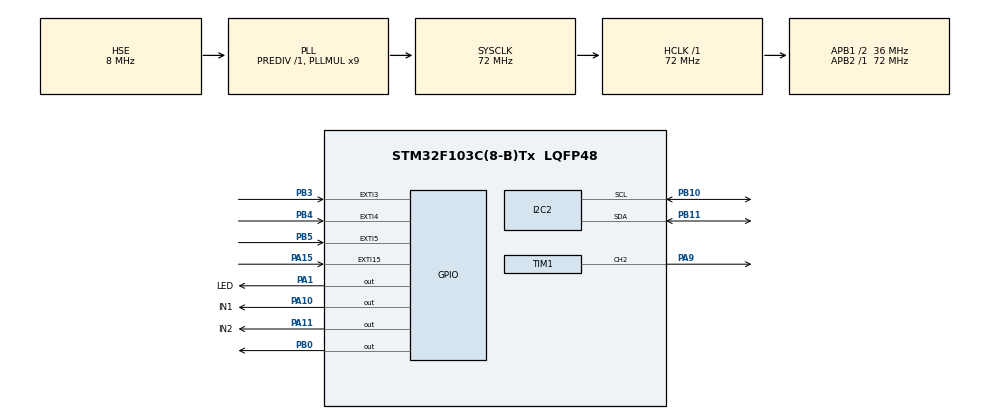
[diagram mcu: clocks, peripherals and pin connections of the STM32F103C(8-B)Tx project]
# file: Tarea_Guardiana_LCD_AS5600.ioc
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Mcu.Family=STM32F1
RCC.PLLSourceVirtual=RCC_PLLSOURCE_HSE
NVIC.EXTI4_IRQn=true\:5\:0\:true\:false\:true\:true\:true
PD1-OSC_OUT.Mode=HSE-External-Oscillator
PB10.Mode=I2C
PB4.GPIO_ModeDefaultEXTI=GPIO_MODE_IT_FALLING
NVIC.EXTI3_IRQn=true\:5\:0\:true\:false\:true\:true\:true
PA11.GPIO_Label=IN2
PD0-OSC_IN.Signal=RCC_OSC_IN
PB3.GPIO_ModeDefaultEXTI=GPIO_MODE_IT_FALLING
RCC.APB1CLKDivider=RCC_HCLK_DIV2
PB11.Signal=I2C2_SDA
RCC.SYSCLKSource=RCC_SYSCLKSOURCE_PLLCLK
ProjectManager.StackSize=0x400
PD1-OSC_OUT.Signal=RCC_OSC_OUT
PA13.Signal=SYS_JTMS-SWDIO
TIM1.Prescaler=15
PB11.Mode=I2C
ProjectManager.TargetToolchain=STM32CubeIDE
PA15.GPIO_ModeDefaultEXTI=GPIO_MODE_IT_FALLING
RCC.HCLKFreq_Value=72000000
RCC.APB2TimFreq_Value=72000000
PA9.Signal=S_TIM1_CH2
TIM1.Channel-PWM\ Generation2\ CH2=TIM_CHANNEL_2
PB4.GPIO_PuPd=GPIO_PULLUP
RCC.USBFreq_Value=72000000
PA1.Signal=GPIO_Output
RCC.AHBFreq_Value=72000000
PB10.Signal=I2C2_SCL
PD0-OSC_IN.Mode=HSE-External-Oscillator
NVIC.EXTI15_10_IRQn=true\:5\:0\:true\:false\:true\:true\:true
board=custom
RCC.PLLMUL=RCC_PLL_MUL9
RCC.APB2Freq_Value=72000000
PB3.GPIO_PuPd=GPIO_PULLUP
SH.S_TIM1_CH2.0=TIM1_CH2,PWM Generation2 CH2
PA14.Mode=Serial_Wire
NVIC.TIM2_IRQn=true\:0\:0\:false\:false\:true\:false\:true
PA10.GPIO_Label=IN1
PA1.GPIO_Label=LED
PA13.Mode=Serial_Wire
Mcu.Name=STM32F103C(8-B)Tx
PB3.Signal=GPXTI3
RCC.SYSCLKFreq_VALUE=72000000
Mcu.Package=LQFP48
PB5.Signal=GPXTI5
VP_SYS_VS_tim2.Mode=TIM2
NVIC.TimeBase=TIM2_IRQn
PB5.GPIO_PuPd=GPIO_PULLUP
PA11.Signal=GPIO_Output
NVIC.TimeBaseIP=TIM2
NVIC.EXTI9_5_IRQn=true\:5\:0\:true\:false\:true\:true\:true
PA10.Signal=GPIO_Output
PA14.Signal=SYS_JTCK-SWCLK
PA15.Signal=GPXTI15
ProjectManager.HeapSize=0x200
NVIC.PriorityGroup=NVIC_PRIORITYGROUP_4
PA15.GPIO_PuPd=GPIO_PULLUP
RCC.APB1TimFreq_Value=72000000
TIM1.Period=999
RCC.APB1Freq_Value=36000000
PB0.Signal=GPIO_Output
PB4.Signal=GPXTI4
PB5.GPIO_ModeDefaultEXTI=GPIO_MODE_IT_FALLING

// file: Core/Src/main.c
/* USER CODE BEGIN Header */
/**
  ******************************************************************************
  * @file           : main.c
  * @brief          : Main program body
  ******************************************************************************
  * @attention
  *
  * <h2><center>&copy; Copyright (c) 2025 STMicroelectronics.
  * All rights reserved.</center></h2>
  *
  * This software component is licensed by ST under BSD 3-Clause license,
  * the "License"; You may not use this file except in compliance with the
  * License. You may obtain a copy of the License at:
  *                        opensource.org/licenses/BSD-3-Clause
  *
  ******************************************************************************
  */
/* USER CODE END Header */
#include "main.h"

/* USER CODE BEGIN Includes */

#include "FreeRTOS.h"
#include "task.h"
#include "queue.h"
#include "lcd_i2c.h"
#include <stdio.h>
#include <string.h>
#include "semphr.h"
#include "math.h"

/* USER CODE END Includes */

/* USER CODE BEGIN PD */

#define LEFT 0
#define RIGHT 1
#define STOP 2

#define PIN_PWM GPIO_PIN_9
#define PORT_PWM GPIOA

#define PIN_IN1 GPIO_PIN_10
#define PORT_IN1 GPIOA

#define PIN_IN2 GPIO_PIN_11
#define PORT_IN2 GPIOA

#define PID_RUN 1
#define PID_STOP 0

#define INC_STEP 1.0f   // incremento al presionar subir/bajar (grados)

/* USER CODE END PD */

I2C_HandleTypeDef hi2c2;

TIM_HandleTypeDef htim1;

/* USER CODE BEGIN PV */

QueueHandle_t I2C_txQueue;
QueueHandle_t I2C_rxQueue;
QueueHandle_t angleQueue;
QueueHandle_t goalangleQueue; // cola para setpoint (PID)
QueueHandle_t rtcQueue;

SemaphoreHandle_t goalangleSemphr;  // controla bloqueo entre menú <-> PID
SemaphoreHandle_t sem_btn0;
SemaphoreHandle_t sem_btn1;
SemaphoreHandle_t sem_btn2;
SemaphoreHandle_t sem_btn3;

typedef enum { RECEIVE, TRANSMIT } i2c_op_t;
typedef struct {
    uint16_t device_id;
    uint8_t reg;
    i2c_op_t type;
    uint8_t n_bytes;
    uint8_t *data;
} i2cQueue_t;

typedef struct {
    uint8_t sec, min, hour, day, month, year;
} rtc_time_t;

typedef enum {
    MENU_SETPOINT = 0,
    MENU_SET_TIME,
    MENU_MARGEN,
    MENU_DATALOGGER,
    MENU_TOTAL_ITEMS
} menu_option_t;

/* Estado del menu y edición */
volatile menu_option_t menu_selected = MENU_SETPOINT;
volatile uint8_t editing_time = 0;
volatile uint8_t edit_field = 0;
rtc_time_t rtc_editing;

/* Nuevo: edición de setpoint */
volatile uint8_t editing_setpoint = 0;
float current_setpoint = 0.0f;   // valor mostrado y editado

/* USER CODE END PV */

void SystemClock_Config(void);
static void MX_GPIO_Init(void);
static void MX_I2C2_Init(void);
static void MX_TIM1_Init(void);

/* USER CODE BEGIN 0 */

void PWM_SetSpeed(uint32_t freq_hz){
	HAL_TIM_PWM_Stop(&htim1, TIM_CHANNEL_2);	//Sabiendo que Preescaler = 15 siempre
	uint32_t periodo=(4500000/freq_hz)-1;		//Sale de hacer 72Mhz/(1+preescaler)(1+ARR)
	TIM1->ARR=periodo;
	TIM1->CCR2=periodo/2;
	//HAL_TIM_PWM_Start(&htim1, TIM_CHANNEL_2);
}

void PWM_Stop(){
	HAL_TIM_PWM_Stop(&htim1, TIM_CHANNEL_2);
}
void PWM_Start(){
	HAL_TIM_PWM_Start(&htim1, TIM_CHANNEL_2);
}
void sentido(int s){
	if(s==LEFT){
		HAL_GPIO_WritePin(PORT_IN1, PIN_IN1, GPIO_PIN_SET);
		HAL_GPIO_WritePin(PORT_IN2, PIN_IN2, GPIO_PIN_RESET);
	}else if(s==RIGHT){
		HAL_GPIO_WritePin(PORT_IN1, PIN_IN1, GPIO_PIN_RESET);
		HAL_GPIO_WritePin(PORT_IN2, PIN_IN2, GPIO_PIN_SET);
	}else if(s==STOP){
		HAL_GPIO_WritePin(PORT_IN1, PIN_IN1, GPIO_PIN_RESET);
		HAL_GPIO_WritePin(PORT_IN2, PIN_IN2, GPIO_PIN_RESET);
	}
}
void speed(uint32_t s){
	PWM_Stop();
	//MINIMA VELOCIDAD 20!!
	float period = (float)TIM1->ARR;
	float temp = 0;
	if(s>100) s = 100;
	if(s>0){
		if(s<=10) s=10;
		temp = (float) s;
		temp = temp/100;
		TIM1->CCR2=(uint32_t)(period * temp);
		PWM_Start();
	}
}

void I2C_controllerTask(void *pvParameters) {
    i2cQueue_t i2cq;
    uint8_t temp[8];
    while (1) {
        xQueueReceive(I2C_txQueue, &i2cq, portMAX_DELAY);
        if (i2cq.type == RECEIVE) {
            HAL_I2C_Master_Transmit(&hi2c2, i2cq.device_id, &i2cq.reg, 1, 10);
            HAL_I2C_Master_Receive(&hi2c2, i2cq.device_id, temp, i2cq.n_bytes, 10);
            xQueueSend(I2C_rxQueue, temp, portMAX_DELAY);
        } else {
            temp[0] = i2cq.reg;
            for (uint8_t i = 0; i < i2cq.n_bytes; i++) temp[i + 1] = i2cq.data[i];
            HAL_I2C_Master_Transmit(&hi2c2, i2cq.device_id, temp, i2cq.n_bytes + 1, 10);
        }
    }
}

void buttonHandlerTask(void *pvParameters) {
    TickType_t lastPress[4] = {0};
    while (1) {
        TickType_t now = xTaskGetTickCount();

        // BOTÓN 1 (sem_btn0): cambiar opción o guardar (menu/save)
        if (xSemaphoreTake(sem_btn0, 0) == pdTRUE && (now - lastPress[0] > pdMS_TO_TICKS(200))) {
            if (HAL_GPIO_ReadPin(GPIOB, GPIO_PIN_3) == GPIO_PIN_RESET) {
                lastPress[0] = now;

                if (!editing_time && !editing_setpoint) {
                    // si no estamos editando, cambiar opción menú
                    menu_selected = (menu_selected + 1) % MENU_TOTAL_ITEMS;
                } else if (editing_time) {
                    // Guardar RTC en DS1307 (igual que antes)
                    uint8_t buf[7];
                    buf[0] = ((rtc_editing.sec/10)<<4)|(rtc_editing.sec%10);
                    buf[1] = ((rtc_editing.min/10)<<4)|(rtc_editing.min%10);
                    buf[2] = ((rtc_editing.hour/10)<<4)|(rtc_editing.hour%10);
                    buf[3] = 1;
                    buf[4] = ((rtc_editing.day/10)<<4)|(rtc_editing.day%10);
                    buf[5] = ((rtc_editing.month/10)<<4)|(rtc_editing.month%10);
                    buf[6] = ((rtc_editing.year/10)<<4)|(rtc_editing.year%10);
                    i2cQueue_t i2cq = {0x68 << 1, 0x00, TRANSMIT, 7, buf};
                    xQueueSend(I2C_txQueue, &i2cq, portMAX_DELAY);
                    editing_time = 0;
                } else if (editing_setpoint) {
                    // Guardar setpoint: tomar semáforo (si está disponible) y enviar a PID
                    if (xSemaphoreTake(goalangleSemphr, pdMS_TO_TICKS(50)) == pdTRUE) {
                        float sp = current_setpoint;
                        xQueueSend(goalangleQueue, &sp, portMAX_DELAY);
                        editing_setpoint = 0;
                        // queda pendiente: PID cuando termine dará el semáforo con xSemaphoreGive
                    }
                }
            }
        }

        // BOTÓN 2 (sem_btn1): entrar o cambiar campo (enter)
        if (xSemaphoreTake(sem_btn1, 0) == pdTRUE && (now - lastPress[1] > pdMS_TO_TICKS(200))) {
            if (HAL_GPIO_ReadPin(GPIOA, GPIO_PIN_15) == GPIO_PIN_RESET) {
                lastPress[1] = now;

                if (menu_selected == MENU_SET_TIME && !editing_time) {
                    xQueuePeek(rtcQueue, &rtc_editing, 0);
                    editing_time = 1;
                    edit_field = 0;
                } else if (editing_time) {
                    edit_field = (edit_field + 1) % 6;
                } else if (menu_selected == MENU_SETPOINT && !editing_setpoint) {
                    // entrar a editar setpoint
                    editing_setpoint = 1;
                    // current_setpoint ya contiene el valor actual a editar
                } else if (editing_setpoint) {
                    // si querés podés usar este botón para cambiar modos; aquí lo ignoramos
                }
            }
        }

        // BOTÓN 3 (sem_btn2): subir valor (subir setpoint o campo RTC)
        if (xSemaphoreTake(sem_btn2, 0) == pdTRUE && (now - lastPress[2] > pdMS_TO_TICKS(200))) {
            if (HAL_GPIO_ReadPin(GPIOB, GPIO_PIN_5) == GPIO_PIN_RESET) {
                lastPress[2] = now;

                if (editing_time) {
                    switch (edit_field) {
                        case 0: if (++rtc_editing.hour > 23) rtc_editing.hour = 0; break;
                        case 1: if (++rtc_editing.min > 59)  rtc_editing.min = 0; break;
                        case 2: if (++rtc_editing.sec > 59)  rtc_editing.sec = 0; break;
                        case 3: if (++rtc_editing.day > 31)  rtc_editing.day = 1; break;
                        case 4: if (++rtc_editing.month > 12)rtc_editing.month = 1; break;
                        case 5: if (++rtc_editing.year > 99) rtc_editing.year = 0; break;
                    }
                } else if (editing_setpoint) {
                    current_setpoint += INC_STEP;
                    if (current_setpoint > 360.0f) current_setpoint = 360.0f; // tope
                }
            }
        }

        // BOTÓN 4 (sem_btn3): bajar valor (bajar setpoint o campo RTC)
        if (xSemaphoreTake(sem_btn3, 0) == pdTRUE && (now - lastPress[3] > pdMS_TO_TICKS(200))) {
            if (HAL_GPIO_ReadPin(GPIOB, GPIO_PIN_4) == GPIO_PIN_RESET) {
                lastPress[3] = now;

                if (editing_time) {
                    switch (edit_field) {
                        case 0: rtc_editing.hour  = (rtc_editing.hour == 0) ? 23 : rtc_editing.hour - 1; break;
                        case 1: rtc_editing.min   = (rtc_editing.min == 0)  ? 59 : rtc_editing.min - 1; break;
                        case 2: rtc_editing.sec   = (rtc_editing.sec == 0)  ? 59 : rtc_editing.sec - 1; break;
                        case 3: rtc_editing.day   = (rtc_editing.day == 1)  ? 31 : rtc_editing.day - 1; break;
                        case 4: rtc_editing.month = (rtc_editing.month == 1)? 12 : rtc_editing.month - 1; break;
                        case 5: rtc_editing.year  = (rtc_editing.year == 0) ? 99 : rtc_editing.year - 1; break;
                    }
                } else if (editing_setpoint) {
                    current_setpoint -= INC_STEP;
                    if (current_setpoint < 0.0f) current_setpoint = 0.0f;
                }
            }
        }

        vTaskDelay(pdMS_TO_TICKS(10));
    }
}

void menuTask(void *pvParameters) {
    lcd_init();
    lcd_clear();
    char buffer[17];
    TickType_t last_blink = 0;
    uint8_t blink_state = 1;
    uint8_t last_editing_time = 0;

    while (1) {
        TickType_t now = xTaskGetTickCount();
        if (now - last_blink >= pdMS_TO_TICKS(500)) {
            blink_state = !blink_state;
            last_blink = now;
        }

        if (!editing_time && !editing_setpoint) {
            // Mostrar menú y también el setpoint en la línea donde está Setpoint
            lcd_goto_XY(0, 0);
            if (menu_selected == MENU_SETPOINT) {
                lcd_send_string("> Setpoint    ");
            } else {
                lcd_send_string("  Setpoint    ");
            }

            // mostrar setpoint al final de la misma línea (ej: " 123.0")
            lcd_goto_XY(0, 12);
            snprintf(buffer, 6, "%5.1f", current_setpoint);
            lcd_send_string(buffer);

            lcd_goto_XY(1, 0);
            lcd_send_string(menu_selected == MENU_SET_TIME ? "> Set time/date" : "  Set time/date");

            lcd_goto_XY(2, 0);
            lcd_send_string(menu_selected == MENU_MARGEN ? "> Margen Setpoint  " : "  Margen Setpoint  ");

            lcd_goto_XY(3, 0);
            lcd_send_string(menu_selected == MENU_DATALOGGER ? "> Datalogger   " : "  Datalogger   ");

        } else if (editing_setpoint) {
            // Mostrar pantalla de edición de setpoint
            lcd_goto_XY(0, 0);
            lcd_send_string("Edit Setpoint:   ");
            lcd_goto_XY(1, 0);
            // blink cuando editando
            if (!blink_state) {
                lcd_send_string("      ----.-     ");
            } else {
                snprintf(buffer, sizeof(buffer), "   %6.1f       ", current_setpoint);
                lcd_send_string(buffer);
            }
            // limpiar lineas inferiores
            lcd_goto_XY(2,0); lcd_send_string("                    ");
            lcd_goto_XY(3,0); lcd_send_string(" Press MENU to save ");
        } else {
            // editing_time (ya existente)
            // Línea 0: Hora
            lcd_goto_XY(0, 0);
            if (edit_field == 0 && !blink_state)
                lcd_send_string("  ");
            else
                snprintf(buffer, sizeof(buffer), "%02u", rtc_editing.hour), lcd_send_string(buffer);

            lcd_send_string(":");

            if (edit_field == 1 && !blink_state)
                lcd_send_string("  ");
            else
                snprintf(buffer, sizeof(buffer), "%02u", rtc_editing.min), lcd_send_string(buffer);

            lcd_send_string(":");

            if (edit_field == 2 && !blink_state)
                lcd_send_string("  ");
            else
                snprintf(buffer, sizeof(buffer), "%02u", rtc_editing.sec), lcd_send_string(buffer);

            // Línea 1: Fecha
            lcd_goto_XY(1, 0);
            if (edit_field == 3 && !blink_state)
                lcd_send_string("  ");
            else
                snprintf(buffer, sizeof(buffer), "%02u", rtc_editing.day), lcd_send_string(buffer);

            lcd_send_string("/");

            if (edit_field == 4 && !blink_state)
                lcd_send_string("  ");
            else
                snprintf(buffer, sizeof(buffer), "%02u", rtc_editing.month), lcd_send_string(buffer);

            lcd_send_string("/");

            if (edit_field == 5 && !blink_state)
                lcd_send_string("  ");
            else
                snprintf(buffer, sizeof(buffer), "%02u", rtc_editing.year), lcd_send_string(buffer);
        }

        if (editing_time != last_editing_time) {
            lcd_goto_XY(0, 0);
            lcd_send_string("                    ");  // Borra línea 0
            lcd_goto_XY(1, 0);
            lcd_send_string("                    ");  // Borra línea 1
            lcd_goto_XY(2, 0);
            lcd_send_string("                    ");  // Borra línea 2
            lcd_goto_XY(3, 0);
            lcd_send_string("                    ");  // Borra línea 3
            last_editing_time = editing_time;
        }

        vTaskDelay(pdMS_TO_TICKS(100));
    }
}

void PID_Task(void *pvParameters) {
	//velocidad=kp*e+ki*integral(e*dt)+kd*d(e)/dt
	//e=setpoint - curr_angle

	double kp = 1.2;  //ajustar valor
	double ki = 0.05; //ajustar valor
	double kd = 0.3;  //ajustar valor

	// Variables de cálculo
	double error=0;
	double errSum=0;
	double dErr=0;
	double last_error=0; //error de la "pasada" anterior del pid
	double dt=0;
	double y_out=0;

	// Control
	int rotation=STOP;
    int running_flag=PID_STOP;
	float goal_angle=0;
    float curr_angle=0;
    float angle_error=10; //error maximo esperado, para tener rangos setpoint+-error
    //recibo angle_error tambien de una queue (la misma que el sp)

    TickType_t curr_ticks = xTaskGetTickCount();
    TickType_t last_ticks = curr_ticks;

    sentido(STOP);
    PWM_SetSpeed(1000); // 1 kHz de PWM

    while (1) {
    	if(running_flag==PID_STOP){
    		sentido(STOP);
    		 // Espera nuevo setpoint
  		    xQueueReceive(goalangleQueue, &goal_angle, portMAX_DELAY);//espero a recibir angulo a rotar
  		  // cuando menu guarda, ya tomó goalangleSemphr; aca se arranca
  		    running_flag = PID_RUN;
  		    last_ticks = xTaskGetTickCount();
  		    errSum = 0;
  		    last_error = 0;

    	}
    	if(running_flag==PID_RUN){
    		curr_ticks = xTaskGetTickCount();
    		dt = (double)(curr_ticks - last_ticks) / 1000.0; // ms → s

    		if(dt<=0){
    			dt=0.001;
    		}

    		last_ticks = curr_ticks;

    		            // Lee ángulo actual sin consumirlo
    	   	if(xQueuePeek(angleQueue, &curr_angle, pdMS_TO_TICKS(50)) != pdTRUE){

    	   	 vTaskDelay(pdMS_TO_TICKS(10));  // si no hay lectura, esperar un poco
    	   	 continue;
    	   	}

    		            // Calcula error
    		            error = (double)(goal_angle - curr_angle);
    		            errSum += error * dt;
    		            dErr = (error - last_error) / dt;
    		            last_error = error;

    		            // Salida PID
    		            y_out = kp * error + ki * errSum + kd * dErr;

    		            // Dirección y magnitud
    		            if (y_out < 0) {
    		                rotation = LEFT;
    		                y_out = -y_out;
    		            } else {
    		                rotation = RIGHT;
    		            }

    		            // Limitar salida
    		            if (y_out > 100) y_out = 100;
    		            if (y_out < 10)  y_out = 10; // velocidad mínima

    		            sentido(rotation);
    		            speed((uint32_t)y_out);

    		            // Verificar si está dentro de rango
    		            if (fabs(error) <= angle_error) {
    		                PWM_Stop();
    		                running_flag = PID_STOP;
    		                xSemaphoreGive(goalangleSemphr); // liberar semáforo para permitir nueva edición en menú
    		            }
    		        }
    	vTaskDelay(pdMS_TO_TICKS(50));
//
//    	xSemaphoreTake(goalangleSemphr,portMAX_DELAY); //corroborar que la botonera siempre tome el semaforo primero con takefromISR
//    	//uso peek para permitir entrar variar veces sin bloquear, recordar limpiar queue cuando termine
//    	xQueuePeek(goalangleQueue, &goal_angle, portMAX_DELAY);	//espero a recibir angulo a rotar
//        xQueuePeek(angleQueue, &curr_angle, portMAX_DELAY);		//espero hasta tener un valor de angulo actual
//        //si no estoy dentro del rango deseado
//        if((curr_angle<(goal_angle-angle_error))||(curr_angle>(goal_angle+angle_error))){
//        	sentido(LEFT);
//        	speed(50);	//speed permite cambiar velocidad durante funcionamiento
//        }else{
//        	PWM_Stop();
//        	xSemaphoreGive(goalangleSemphr);
//        }
//        //dentro del if iria la logica de pid
//        vTaskDelay(pdMS_TO_TICKS(50));
    }
}
//la tarea espera a que desde el menú se la habilite y recibe el valor de la misma.
//x ahora solo recibe el valor,y corrobora si se tiene o no que mover el motor para llegar
//de ser necesario, se puede medir el tiempo entre mediciones utilizando el TIM3 o TIM4, para tener precision de uS

void as5600_readerTask(void *pvParameters) {
	HAL_GPIO_WritePin(GPIOB, GPIO_PIN_0, GPIO_PIN_RESET);
    uint8_t raw_data[2];
    float angle_deg;

    i2cQueue_t i2cq;
    i2cq.device_id = 0x36 << 1;
    i2cq.reg = 0x0E;  // ANGLE register (MSB)
    i2cq.type = RECEIVE;
    i2cq.n_bytes = 2;
    i2cq.data = raw_data;

    while (1) {
        xQueueSend(I2C_txQueue, &i2cq, portMAX_DELAY);
        xQueueReceive(I2C_rxQueue, raw_data, portMAX_DELAY);

        uint16_t raw_angle = ((uint16_t)raw_data[0] << 8) | raw_data[1];
        angle_deg = (float)raw_angle * 360.0f / 4096.0f;

        xQueueSend(angleQueue, &angle_deg, portMAX_DELAY);
        vTaskDelay(pdMS_TO_TICKS(100));
    }
}

void EXTI3_IRQHandler(void) {
    HAL_GPIO_EXTI_IRQHandler(GPIO_PIN_3);
    BaseType_t xHigherPriorityTaskWoken = pdFALSE;
    xSemaphoreGiveFromISR(sem_btn0, &xHigherPriorityTaskWoken);
    portYIELD_FROM_ISR(xHigherPriorityTaskWoken);
}
void EXTI4_IRQHandler(void) {
    HAL_GPIO_EXTI_IRQHandler(GPIO_PIN_4);
    BaseType_t xHigherPriorityTaskWoken = pdFALSE;
    xSemaphoreGiveFromISR(sem_btn3, &xHigherPriorityTaskWoken);
    portYIELD_FROM_ISR(xHigherPriorityTaskWoken);
}
void EXTI9_5_IRQHandler(void) {
    HAL_GPIO_EXTI_IRQHandler(GPIO_PIN_5);
    BaseType_t xHigherPriorityTaskWoken = pdFALSE;
    xSemaphoreGiveFromISR(sem_btn2, &xHigherPriorityTaskWoken);
    portYIELD_FROM_ISR(xHigherPriorityTaskWoken);
}
void EXTI15_10_IRQHandler(void) {
    HAL_GPIO_EXTI_IRQHandler(GPIO_PIN_15);
    BaseType_t xHigherPriorityTaskWoken = pdFALSE;
    xSemaphoreGiveFromISR(sem_btn1, &xHigherPriorityTaskWoken);
    portYIELD_FROM_ISR(xHigherPriorityTaskWoken);
}
/*
void lcd_displayTask(void *pvParameters) {
    float angle;
    char buffer[20];

    lcd_init();
    lcd_clear();

    while (1) {
        xQueueReceive(angleQueue, &angle, portMAX_DELAY);

        snprintf(buffer, sizeof(buffer), "Angulo: %-6.1f", angle);
        lcd_goto_XY(2, 0);
        lcd_send_string(buffer);
    }
}

*/
/* USER CODE END 0 */

int main(void)
{

  /* MCU Configuration--------------------------------------------------------*/

  /* Reset of all peripherals, Initializes the Flash interface and the Systick. */
  HAL_Init();

  /* Configure the system clock */
  SystemClock_Config();

  /* Initialize all configured peripherals */
  MX_GPIO_Init();
  MX_I2C2_Init();
  MX_TIM1_Init();
  /* USER CODE BEGIN 2 */

 //   sentido(STOP);
 //   PWM_SetSpeed(1000);
 //   speed(20);

    //min 25 con 2khz
    //min 18 recomiendo 20 con 1khz
    //min 14 con 500hz
    //min 10 con 100hz --> frec minima

  /* USER CODE END 2 */

  /* Infinite loop */
  /* USER CODE BEGIN WHILE */

  /* semáforos botones */

     sem_btn0 = xSemaphoreCreateBinary();
     sem_btn1 = xSemaphoreCreateBinary();
     sem_btn2 = xSemaphoreCreateBinary();
     sem_btn3 = xSemaphoreCreateBinary();

     /* colas */
     I2C_txQueue = xQueueCreate(8, sizeof(i2cQueue_t));
     I2C_rxQueue = xQueueCreate(8, sizeof(uint8_t) * 8);
     angleQueue  = xQueueCreate(2, sizeof(float));
     rtcQueue = xQueueCreate(2, sizeof(rtc_time_t));
     goalangleQueue = xQueueCreate(2, sizeof(float));

     /* semáforo para bloquear edición hasta que PID termine */
     goalangleSemphr = xSemaphoreCreateBinary();

     // lo damos para que inicialmente pueda editar y guardar
      xSemaphoreGive(goalangleSemphr);

     xTaskCreate(I2C_controllerTask, "I2C_Guardian", 512, NULL, 3, NULL);
     xTaskCreate(buttonHandlerTask, "Buttons      ", 256, NULL, 2, NULL);
     xTaskCreate(PID_Task          , "PID"         , 512, NULL, 2, NULL);
     xTaskCreate(as5600_readerTask , "AS5600"      , 256, NULL, 2, NULL);
     xTaskCreate(menuTask          , "Menu"        , 512, NULL, 1, NULL);

     vTaskStartScheduler();

  while (1)
  {
    /* USER CODE END WHILE */

  }
}

void SystemClock_Config(void)
{
  RCC_OscInitTypeDef RCC_OscInitStruct = {0};
  RCC_ClkInitTypeDef RCC_ClkInitStruct = {0};

  /** Initializes the RCC Oscillators according to the specified parameters
  * in the RCC_OscInitTypeDef structure.
  */
  RCC_OscInitStruct.OscillatorType = RCC_OSCILLATORTYPE_HSE;
  RCC_OscInitStruct.HSEState = RCC_HSE_ON;
  RCC_OscInitStruct.HSEPredivValue = RCC_HSE_PREDIV_DIV1;
  RCC_OscInitStruct.HSIState = RCC_HSI_ON;
  RCC_OscInitStruct.PLL.PLLState = RCC_PLL_ON;
  RCC_OscInitStruct.PLL.PLLSource = RCC_PLLSOURCE_HSE;
  RCC_OscInitStruct.PLL.PLLMUL = RCC_PLL_MUL9;
  if (HAL_RCC_OscConfig(&RCC_OscInitStruct) != HAL_OK)
  {
    Error_Handler();
  }
  /** Initializes the CPU, AHB and APB buses clocks
  */
  RCC_ClkInitStruct.ClockType = RCC_CLOCKTYPE_HCLK|RCC_CLOCKTYPE_SYSCLK
                              |RCC_CLOCKTYPE_PCLK1|RCC_CLOCKTYPE_PCLK2;
  RCC_ClkInitStruct.SYSCLKSource = RCC_SYSCLKSOURCE_PLLCLK;
  RCC_ClkInitStruct.AHBCLKDivider = RCC_SYSCLK_DIV1;
  RCC_ClkInitStruct.APB1CLKDivider = RCC_HCLK_DIV2;
  RCC_ClkInitStruct.APB2CLKDivider = RCC_HCLK_DIV1;

  if (HAL_RCC_ClockConfig(&RCC_ClkInitStruct, FLASH_LATENCY_2) != HAL_OK)
  {
    Error_Handler();
  }
}

static void MX_I2C2_Init(void)
{

  hi2c2.Instance = I2C2;
  hi2c2.Init.ClockSpeed = 100000;
  hi2c2.Init.DutyCycle = I2C_DUTYCYCLE_2;
  hi2c2.Init.OwnAddress1 = 0;
  hi2c2.Init.AddressingMode = I2C_ADDRESSINGMODE_7BIT;
  hi2c2.Init.DualAddressMode = I2C_DUALADDRESS_DISABLE;
  hi2c2.Init.OwnAddress2 = 0;
  hi2c2.Init.GeneralCallMode = I2C_GENERALCALL_DISABLE;
  hi2c2.Init.NoStretchMode = I2C_NOSTRETCH_DISABLE;
  if (HAL_I2C_Init(&hi2c2) != HAL_OK)
  {
    Error_Handler();
  }

}

static void MX_TIM1_Init(void)
{

  TIM_MasterConfigTypeDef sMasterConfig = {0};
  TIM_OC_InitTypeDef sConfigOC = {0};
  TIM_BreakDeadTimeConfigTypeDef sBreakDeadTimeConfig = {0};

  htim1.Instance = TIM1;
  htim1.Init.Prescaler = 15;
  htim1.Init.CounterMode = TIM_COUNTERMODE_UP;
  htim1.Init.Period = 999;
  htim1.Init.ClockDivision = TIM_CLOCKDIVISION_DIV1;
  htim1.Init.RepetitionCounter = 0;
  htim1.Init.AutoReloadPreload = TIM_AUTORELOAD_PRELOAD_DISABLE;
  if (HAL_TIM_PWM_Init(&htim1) != HAL_OK)
  {
    Error_Handler();
  }
  sMasterConfig.MasterOutputTrigger = TIM_TRGO_RESET;
  sMasterConfig.MasterSlaveMode = TIM_MASTERSLAVEMODE_DISABLE;
  if (HAL_TIMEx_MasterConfigSynchronization(&htim1, &sMasterConfig) != HAL_OK)
  {
    Error_Handler();
  }
  sConfigOC.OCMode = TIM_OCMODE_PWM1;
  sConfigOC.Pulse = 0;
  sConfigOC.OCPolarity = TIM_OCPOLARITY_HIGH;
  sConfigOC.OCNPolarity = TIM_OCNPOLARITY_HIGH;
  sConfigOC.OCFastMode = TIM_OCFAST_DISABLE;
  sConfigOC.OCIdleState = TIM_OCIDLESTATE_RESET;
  sConfigOC.OCNIdleState = TIM_OCNIDLESTATE_RESET;
  if (HAL_TIM_PWM_ConfigChannel(&htim1, &sConfigOC, TIM_CHANNEL_2) != HAL_OK)
  {
    Error_Handler();
  }
  sBreakDeadTimeConfig.OffStateRunMode = TIM_OSSR_DISABLE;
  sBreakDeadTimeConfig.OffStateIDLEMode = TIM_OSSI_DISABLE;
  sBreakDeadTimeConfig.LockLevel = TIM_LOCKLEVEL_OFF;
  sBreakDeadTimeConfig.DeadTime = 0;
  sBreakDeadTimeConfig.BreakState = TIM_BREAK_DISABLE;
  sBreakDeadTimeConfig.BreakPolarity = TIM_BREAKPOLARITY_HIGH;
  sBreakDeadTimeConfig.AutomaticOutput = TIM_AUTOMATICOUTPUT_DISABLE;
  if (HAL_TIMEx_ConfigBreakDeadTime(&htim1, &sBreakDeadTimeConfig) != HAL_OK)
  {
    Error_Handler();
  }
  HAL_TIM_MspPostInit(&htim1);

}

static void MX_GPIO_Init(void)
{
  GPIO_InitTypeDef GPIO_InitStruct = {0};

  /* GPIO Ports Clock Enable */
  __HAL_RCC_GPIOD_CLK_ENABLE();
  __HAL_RCC_GPIOA_CLK_ENABLE();
  __HAL_RCC_GPIOB_CLK_ENABLE();

  /*Configure GPIO pin Output Level */
  HAL_GPIO_WritePin(GPIOA, LED_Pin|IN1_Pin|IN2_Pin, GPIO_PIN_RESET);

  /*Configure GPIO pin Output Level */
  HAL_GPIO_WritePin(GPIOB, GPIO_PIN_0, GPIO_PIN_RESET);

  /*Configure GPIO pins : LED_Pin IN1_Pin IN2_Pin */
  GPIO_InitStruct.Pin = LED_Pin|IN1_Pin|IN2_Pin;
  GPIO_InitStruct.Mode = GPIO_MODE_OUTPUT_PP;
  GPIO_InitStruct.Pull = GPIO_NOPULL;
  GPIO_InitStruct.Speed = GPIO_SPEED_FREQ_LOW;
  HAL_GPIO_Init(GPIOA, &GPIO_InitStruct);

  /*Configure GPIO pin : PB0 */
  GPIO_InitStruct.Pin = GPIO_PIN_0;
  GPIO_InitStruct.Mode = GPIO_MODE_OUTPUT_PP;
  GPIO_InitStruct.Pull = GPIO_NOPULL;
  GPIO_InitStruct.Speed = GPIO_SPEED_FREQ_LOW;
  HAL_GPIO_Init(GPIOB, &GPIO_InitStruct);

  /*Configure GPIO pin : PA15 */
  GPIO_InitStruct.Pin = GPIO_PIN_15;
  GPIO_InitStruct.Mode = GPIO_MODE_IT_FALLING;
  GPIO_InitStruct.Pull = GPIO_PULLUP;
  HAL_GPIO_Init(GPIOA, &GPIO_InitStruct);

  /*Configure GPIO pins : PB3 PB4 PB5 */
  GPIO_InitStruct.Pin = GPIO_PIN_3|GPIO_PIN_4|GPIO_PIN_5;
  GPIO_InitStruct.Mode = GPIO_MODE_IT_FALLING;
  GPIO_InitStruct.Pull = GPIO_PULLUP;
  HAL_GPIO_Init(GPIOB, &GPIO_InitStruct);

  /* EXTI interrupt init*/
  HAL_NVIC_SetPriority(EXTI3_IRQn, 5, 0);
  HAL_NVIC_EnableIRQ(EXTI3_IRQn);

  HAL_NVIC_SetPriority(EXTI4_IRQn, 5, 0);
  HAL_NVIC_EnableIRQ(EXTI4_IRQn);

  HAL_NVIC_SetPriority(EXTI9_5_IRQn, 5, 0);
  HAL_NVIC_EnableIRQ(EXTI9_5_IRQn);

  HAL_NVIC_SetPriority(EXTI15_10_IRQn, 5, 0);
  HAL_NVIC_EnableIRQ(EXTI15_10_IRQn);

}

 /**
  * @brief  Period elapsed callback in non blocking mode
  * @note   This function is called  when TIM2 interrupt took place, inside
  * HAL_TIM_IRQHandler(). It makes a direct call to HAL_IncTick() to increment
  * a global variable "uwTick" used as application time base.
  * @param  htim : TIM handle
  * @retval None
  */
void HAL_TIM_PeriodElapsedCallback(TIM_HandleTypeDef *htim)
{
  if (htim->Instance == TIM2) {
    HAL_IncTick();
  }
}

void Error_Handler(void)
{
  __disable_irq();
  while (1)
  {
  }
}

/************************ (C) COPYRIGHT STMicroelectronics *****END OF FILE****/
